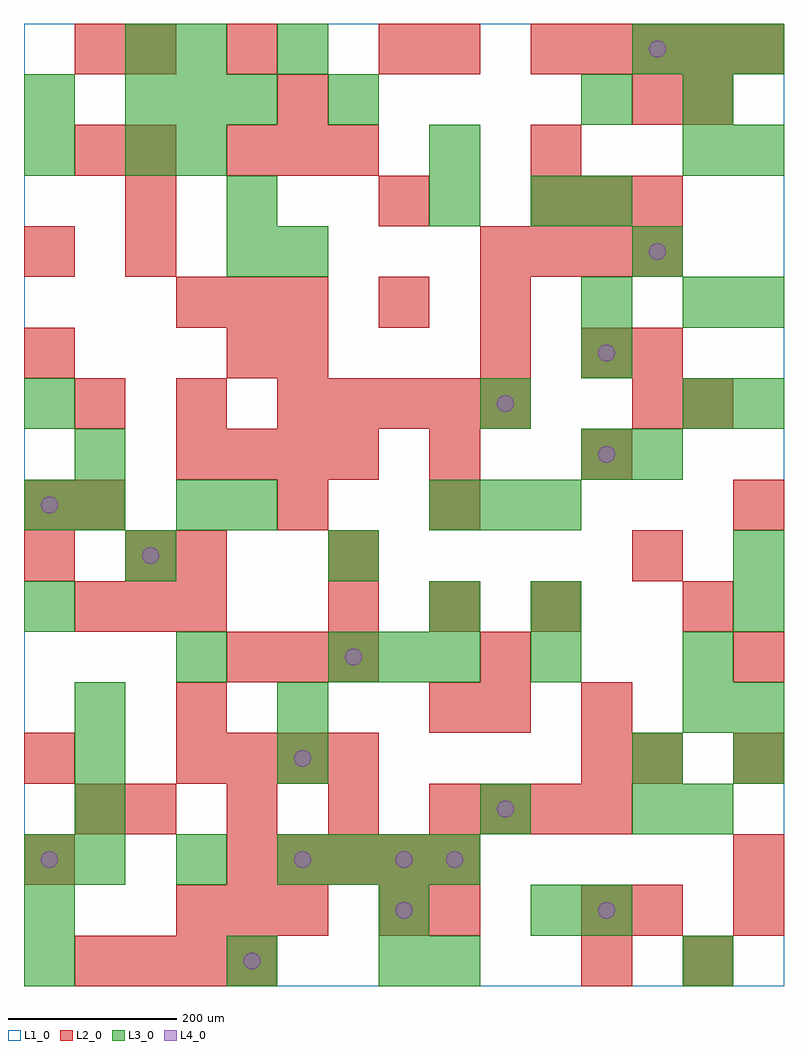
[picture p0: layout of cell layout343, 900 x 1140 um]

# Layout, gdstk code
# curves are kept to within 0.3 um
import gdstk
lib = gdstk.Library(unit=1e-6, precision=1e-09)
def R(c, l, rs):  # rectangles x0, y0, x1, y1
    for r in rs: c.add(gdstk.rectangle(r[:2], r[2:], *l))
def A(c, l, x, y, w, h, nx, ny, dx, dy):  # array of equal rectangles
    R(c, l, [(x+i*dx, y+j*dy, x+i*dx+w, y+j*dy+h) for i in range(nx) for j in range(ny)])
def P(c, l, *ps):  # polygons
    for p in ps: c.add(gdstk.Polygon(p, *l))
L1_0 = (1, 0)
L2_0 = (2, 0)
L3_0 = (3, 0)
L4_0 = (4, 0)

layout343 = lib.new_cell('layout343')
R(layout343, L1_0, [(0,0,900,1140)])
A(layout343, L2_0, 60, 0, 60, 60, 4, 1, 60, 0)
A(layout343, L2_0, 180, 60, 60, 60, 3, 2, 60, 720)
A(layout343, L2_0, 480, 60, 60, 60, 1, 3, 0, 240)
A(layout343, L2_0, 240, 120, 60, 60, 5, 1, 60, 0)
A(layout343, L2_0, 840, 120, 60, 60, 1, 3, 0, 120)
A(layout343, L2_0, 120, 180, 60, 60, 4, 1, 120, 0)
A(layout343, L2_0, 540, 180, 60, 60, 3, 1, 60, 0)
A(layout343, L2_0, 180, 240, 60, 60, 4, 2, 60, 360)
A(layout343, L2_0, 240, 360, 60, 60, 3, 2, 60, 600)
A(layout343, L2_0, 60, 420, 60, 60, 3, 1, 60, 0)
A(layout343, L2_0, 360, 420, 60, 60, 3, 1, 120, 0)
A(layout343, L2_0, 60, 660, 60, 60, 3, 1, 120, 0)
A(layout343, L2_0, 360, 660, 60, 60, 4, 1, 60, 0)
A(layout343, L2_0, 120, 840, 60, 60, 1, 3, 0, 60)
A(layout343, L2_0, 540, 840, 60, 60, 4, 1, 60, 0)
A(layout343, L2_0, 600, 900, 60, 60, 3, 1, 60, 0)
A(layout343, L2_0, 600, 1080, 60, 60, 5, 1, 60, 0)
R(layout343, L2_0, [(660,0,720,60), (780,0,840,60), (420,60,480,120), (660,60,720,120), (720,60,780,120), (840,60,900,120), (0,120,60,180), (60,180,120,240), (0,240,60,300), (660,240,720,300), (720,240,780,300), (180,300,240,360), (540,300,600,360), (660,300,720,360), (540,360,600,420), (780,420,840,480), (0,480,60,540), (120,480,180,540), (180,480,240,540), (360,480,420,540), (720,480,780,540), (0,540,60,600), (60,540,120,600), (300,540,360,600), (840,540,900,600), (480,600,540,660), (660,600,720,660), (720,660,780,720), (780,660,840,720), (0,720,60,780), (240,720,300,780), (300,720,360,780), (540,720,600,780), (660,720,720,780), (720,720,780,780), (420,780,480,840), (540,780,600,840), (0,840,60,900), (420,900,480,960), (60,960,120,1020), (600,960,660,1020), (300,1020,360,1080), (720,1020,780,1080), (780,1020,840,1080), (60,1080,120,1140), (120,1080,180,1140), (240,1080,300,1140), (420,1080,480,1140), (480,1080,540,1140)])
A(layout343, L3_0, 0, 0, 60, 60, 1, 3, 0, 60)
A(layout343, L3_0, 60, 120, 60, 60, 3, 1, 120, 0)
A(layout343, L3_0, 360, 120, 60, 60, 3, 2, 60, 240)
A(layout343, L3_0, 60, 180, 60, 60, 1, 3, 0, 60)
A(layout343, L3_0, 0, 420, 60, 60, 1, 3, 0, 120)
A(layout343, L3_0, 480, 540, 60, 60, 3, 1, 60, 0)
A(layout343, L3_0, 660, 780, 60, 60, 1, 3, 0, 120)
A(layout343, L3_0, 180, 960, 60, 60, 3, 1, 300, 0)
A(layout343, L3_0, 120, 1020, 60, 60, 3, 1, 60, 0)
A(layout343, L3_0, 720, 1080, 60, 60, 3, 1, 60, 0)
R(layout343, L3_0, [(240,0,300,60), (420,0,480,60), (480,0,540,60), (780,0,840,60), (420,60,480,120), (600,60,660,120), (660,60,720,120), (540,180,600,240), (720,180,780,240), (780,180,840,240), (300,240,360,300), (720,240,780,300), (840,240,900,300), (300,300,360,360), (780,300,840,360), (840,300,900,360), (180,360,240,420), (600,360,660,420), (780,360,840,420), (480,420,540,480), (600,420,660,480), (840,420,900,480), (120,480,180,540), (360,480,420,540), (840,480,900,540), (60,540,120,600), (180,540,240,600), (240,540,300,600), (60,600,120,660), (660,600,720,660), (720,600,780,660), (540,660,600,720), (780,660,840,720), (840,660,900,720), (660,720,720,780), (780,780,840,840), (840,780,900,840), (240,840,300,900), (300,840,360,900), (720,840,780,900), (240,900,300,960), (480,900,540,960), (600,900,660,960), (0,960,60,1020), (120,960,180,1020), (840,960,900,1020), (0,1020,60,1080), (360,1020,420,1080), (780,1020,840,1080), (120,1080,180,1140), (180,1080,240,1140), (300,1080,360,1140)])
P(layout343, L4_0, [(40,150),(39.239,153.827),(37.071,157.071),(33.827,159.239),(30,160),(26.173,159.239),(22.929,157.071),(20.761,153.827),(20,150),(20.761,146.173),(22.929,142.929),(26.173,140.761),(30,140),(33.827,140.761),(37.071,142.929),(39.239,146.173)],
  [(40,570),(39.239,573.827),(37.071,577.071),(33.827,579.239),(30,580),(26.173,579.239),(22.929,577.071),(20.761,573.827),(20,570),(20.761,566.173),(22.929,562.929),(26.173,560.761),(30,560),(33.827,560.761),(37.071,562.929),(39.239,566.173)],
  [(160,510),(159.239,513.827),(157.071,517.071),(153.827,519.239),(150,520),(146.173,519.239),(142.929,517.071),(140.761,513.827),(140,510),(140.761,506.173),(142.929,502.929),(146.173,500.761),(150,500),(153.827,500.761),(157.071,502.929),(159.239,506.173)],
  [(280,30),(279.239,33.827),(277.071,37.071),(273.827,39.239),(270,40),(266.173,39.239),(262.929,37.071),(260.761,33.827),(260,30),(260.761,26.173),(262.929,22.929),(266.173,20.761),(270,20),(273.827,20.761),(277.071,22.929),(279.239,26.173)],
  [(340,150),(339.239,153.827),(337.071,157.071),(333.827,159.239),(330,160),(326.173,159.239),(322.929,157.071),(320.761,153.827),(320,150),(320.761,146.173),(322.929,142.929),(326.173,140.761),(330,140),(333.827,140.761),(337.071,142.929),(339.239,146.173)],
  [(340,270),(339.239,273.827),(337.071,277.071),(333.827,279.239),(330,280),(326.173,279.239),(322.929,277.071),(320.761,273.827),(320,270),(320.761,266.173),(322.929,262.929),(326.173,260.761),(330,260),(333.827,260.761),(337.071,262.929),(339.239,266.173)],
  [(400,390),(399.239,393.827),(397.071,397.071),(393.827,399.239),(390,400),(386.173,399.239),(382.929,397.071),(380.761,393.827),(380,390),(380.761,386.173),(382.929,382.929),(386.173,380.761),(390,380),(393.827,380.761),(397.071,382.929),(399.239,386.173)],
  [(460,90),(459.239,93.827),(457.071,97.071),(453.827,99.239),(450,100),(446.173,99.239),(442.929,97.071),(440.761,93.827),(440,90),(440.761,86.173),(442.929,82.929),(446.173,80.761),(450,80),(453.827,80.761),(457.071,82.929),(459.239,86.173)],
  [(460,150),(459.239,153.827),(457.071,157.071),(453.827,159.239),(450,160),(446.173,159.239),(442.929,157.071),(440.761,153.827),(440,150),(440.761,146.173),(442.929,142.929),(446.173,140.761),(450,140),(453.827,140.761),(457.071,142.929),(459.239,146.173)],
  [(520,150),(519.239,153.827),(517.071,157.071),(513.827,159.239),(510,160),(506.173,159.239),(502.929,157.071),(500.761,153.827),(500,150),(500.761,146.173),(502.929,142.929),(506.173,140.761),(510,140),(513.827,140.761),(517.071,142.929),(519.239,146.173)],
  [(580,210),(579.239,213.827),(577.071,217.071),(573.827,219.239),(570,220),(566.173,219.239),(562.929,217.071),(560.761,213.827),(560,210),(560.761,206.173),(562.929,202.929),(566.173,200.761),(570,200),(573.827,200.761),(577.071,202.929),(579.239,206.173)],
  [(580,690),(579.239,693.827),(577.071,697.071),(573.827,699.239),(570,700),(566.173,699.239),(562.929,697.071),(560.761,693.827),(560,690),(560.761,686.173),(562.929,682.929),(566.173,680.761),(570,680),(573.827,680.761),(577.071,682.929),(579.239,686.173)],
  [(700,90),(699.239,93.827),(697.071,97.071),(693.827,99.239),(690,100),(686.173,99.239),(682.929,97.071),(680.761,93.827),(680,90),(680.761,86.173),(682.929,82.929),(686.173,80.761),(690,80),(693.827,80.761),(697.071,82.929),(699.239,86.173)],
  [(700,630),(699.239,633.827),(697.071,637.071),(693.827,639.239),(690,640),(686.173,639.239),(682.929,637.071),(680.761,633.827),(680,630),(680.761,626.173),(682.929,622.929),(686.173,620.761),(690,620),(693.827,620.761),(697.071,622.929),(699.239,626.173)],
  [(700,750),(699.239,753.827),(697.071,757.071),(693.827,759.239),(690,760),(686.173,759.239),(682.929,757.071),(680.761,753.827),(680,750),(680.761,746.173),(682.929,742.929),(686.173,740.761),(690,740),(693.827,740.761),(697.071,742.929),(699.239,746.173)],
  [(760,870),(759.239,873.827),(757.071,877.071),(753.827,879.239),(750,880),(746.173,879.239),(742.929,877.071),(740.761,873.827),(740,870),(740.761,866.173),(742.929,862.929),(746.173,860.761),(750,860),(753.827,860.761),(757.071,862.929),(759.239,866.173)],
  [(760,1110),(759.239,1113.827),(757.071,1117.071),(753.827,1119.239),(750,1120),(746.173,1119.239),(742.929,1117.071),(740.761,1113.827),(740,1110),(740.761,1106.173),(742.929,1102.929),(746.173,1100.761),(750,1100),(753.827,1100.761),(757.071,1102.929),(759.239,1106.173)])

lib.write_gds('layout343.gds')
